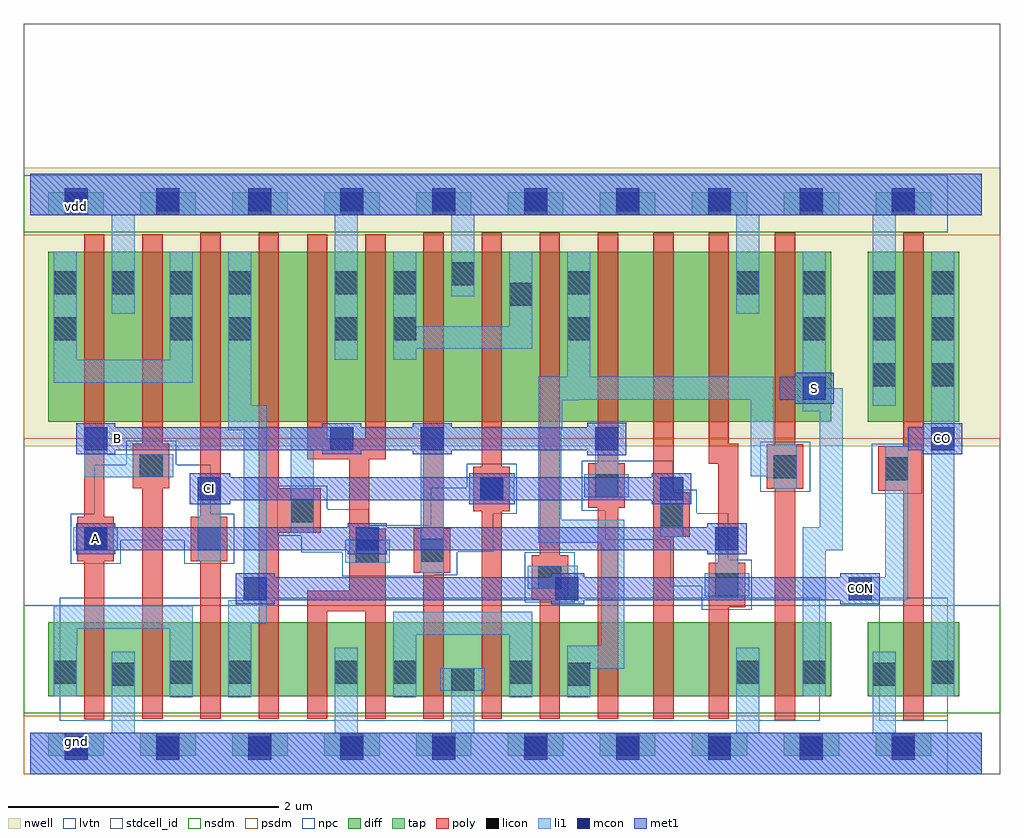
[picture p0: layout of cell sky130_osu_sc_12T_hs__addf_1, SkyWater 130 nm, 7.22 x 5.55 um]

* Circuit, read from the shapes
.subckt sky130_osu_sc_12T_hs__addf_1 A B CI CO CON S gnd vdd
XM1 gnd A n1 gnd sky130_fd_pr__nfet_01v8_lvt w=0.55 l=0.15
XM2 n1 B gnd gnd sky130_fd_pr__nfet_01v8_lvt w=0.55 l=0.15
XM3 CON CI n1 gnd sky130_fd_pr__nfet_01v8_lvt w=0.55 l=0.15
XM4 n2 B CON gnd sky130_fd_pr__nfet_01v8_lvt w=0.55 l=0.15
XM5 gnd A n2 gnd sky130_fd_pr__nfet_01v8_lvt w=0.55 l=0.15
XM6 n3 A gnd gnd sky130_fd_pr__nfet_01v8_lvt w=0.55 l=0.15
XM7 gnd B n3 gnd sky130_fd_pr__nfet_01v8_lvt w=0.55 l=0.15
XM8 n3 CI gnd gnd sky130_fd_pr__nfet_01v8_lvt w=0.55 l=0.15
XM9 n4 CON n3 gnd sky130_fd_pr__nfet_01v8_lvt w=0.55 l=0.15
XM10 n5 B n4 gnd sky130_fd_pr__nfet_01v8_lvt w=0.55 l=0.15
XM11 n6 CI n5 gnd sky130_fd_pr__nfet_01v8_lvt w=0.55 l=0.15
XM12 gnd A n6 gnd sky130_fd_pr__nfet_01v8_lvt w=0.55 l=0.15
XM13 S n4 gnd gnd sky130_fd_pr__nfet_01v8_lvt w=0.55 l=0.15
XM14 CO CON gnd gnd sky130_fd_pr__nfet_01v8_lvt w=0.55 l=0.15
XM15 vdd A n7 vdd sky130_fd_pr__pfet_01v8 w=1.26 l=0.15
XM16 n7 B vdd vdd sky130_fd_pr__pfet_01v8 w=1.26 l=0.15
XM17 CON CI n7 vdd sky130_fd_pr__pfet_01v8 w=1.26 l=0.15
XM18 n8 B CON vdd sky130_fd_pr__pfet_01v8 w=1.26 l=0.15
XM19 vdd A n8 vdd sky130_fd_pr__pfet_01v8 w=1.26 l=0.15
XM20 n9 A vdd vdd sky130_fd_pr__pfet_01v8 w=1.26 l=0.15
XM21 vdd B n9 vdd sky130_fd_pr__pfet_01v8 w=1.26 l=0.15
XM22 n9 CI vdd vdd sky130_fd_pr__pfet_01v8 w=1.26 l=0.15
XM23 n4 CON n9 vdd sky130_fd_pr__pfet_01v8 w=1.26 l=0.15
XM24 n10 B n4 vdd sky130_fd_pr__pfet_01v8 w=1.26 l=0.15
XM25 n11 CI n10 vdd sky130_fd_pr__pfet_01v8 w=1.26 l=0.15
XM26 vdd A n11 vdd sky130_fd_pr__pfet_01v8 w=1.26 l=0.15
XM27 S n4 vdd vdd sky130_fd_pr__pfet_01v8 w=1.26 l=0.15
XM28 CO CON vdd vdd sky130_fd_pr__pfet_01v8 w=1.26 l=0.15
.ends

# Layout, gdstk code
import gdstk
lib = gdstk.Library(unit=1e-6, precision=1e-09)
def R(c, l, rs):  # rectangles x0, y0, x1, y1
    for r in rs: c.add(gdstk.rectangle(r[:2], r[2:], *l))
def A(c, l, x, y, w, h, nx, ny, dx, dy):  # array of equal rectangles
    R(c, l, [(x+i*dx, y+j*dy, x+i*dx+w, y+j*dy+h) for i in range(nx) for j in range(ny)])
nwell = (64, 20)
diff = (65, 20)
tap = (65, 44)
poly = (66, 20)
licon = (66, 44)
li1 = (67, 20)
mcon = (67, 44)
met1 = (68, 20)
stdcell_id = (81, 4)
nsdm = (93, 44)
psdm = (94, 20)
npc = (95, 20)
lvtn = (125, 44)

sky130_osu_sc_12t_hs__ad = lib.new_cell('sky130_osu_sc_12T_hs__addf_1')
R(sky130_osu_sc_12t_hs__ad, nwell, [(-0.045,2.425,7.175,4.485)])
R(sky130_osu_sc_12t_hs__ad, diff, [(0.135,0.575,5.925,1.125), (6.195,0.575,6.875,1.125), (0.135,2.605,5.925,3.865), (6.195,2.605,6.875,3.865)])
A(sky130_osu_sc_12t_hs__ad, tap, 0.135, 0.135, 0.41, 0.17, 10, 2, 0.68, 4)
R(sky130_osu_sc_12t_hs__ad, poly, [(5.51,0.4,5.66,2.11), (6.46,0.4,6.61,2.095), (0.4,0.405,0.55,1.575), (0.83,0.41,0.98,2.115), (1.26,0.41,1.41,1.575), (1.69,0.41,1.84,1.785), (2.05,0.41,2.2,1.205), (2.48,0.41,2.63,1.205), (2.91,0.41,3.06,1.49), (3.34,0.41,3.49,1.945), (3.77,0.41,3.92,1.29), (4.2,0.41,4.35,1.97), (4.61,0.41,4.76,1.755), (5.02,0.41,5.17,1.235), (2.05,1.205,2.63,1.355), (5.02,1.235,5.29,1.565), (3.71,1.29,3.98,1.62), (2.36,1.355,2.63,1.815), (2.84,1.49,3.11,1.82), (5.09,1.565,5.24,2.295), (0.35,1.575,0.62,1.905), (1.19,1.575,1.46,1.905), (3.77,1.62,3.92,4.005), (4.61,1.755,4.88,2.085), (1.69,1.785,2.15,2.115), (2.36,1.815,2.51,2.33), (2.91,1.82,3.06,4.005), (0.4,1.905,0.55,3.995), (1.26,1.905,1.41,4.005), (3.28,1.945,3.55,2.275), (4.13,1.97,4.4,2.3), (4.61,2.085,4.76,4.005), (6.275,2.095,6.61,2.425), (5.45,2.11,5.72,2.44), (0.76,2.115,1.03,2.445), (1.69,2.115,1.84,4.005), (3.34,2.275,3.49,4.005), (5.02,2.295,5.24,2.445), (4.2,2.3,4.35,4.005), (2.05,2.33,2.63,2.48), (6.46,2.425,6.61,4.005), (5.51,2.44,5.66,4.005), (0.83,2.445,0.98,3.995), (5.02,2.445,5.17,4.005), (2.05,2.48,2.2,3.995), (2.48,2.48,2.63,3.995)])
A(sky130_osu_sc_12t_hs__ad, licon, 0.255, 0.135, 0.17, 0.17, 10, 2, 0.68, 4)
A(sky130_osu_sc_12t_hs__ad, licon, 6.235, 2.87, 0.17, 0.17, 1, 3, 0, 0.34)
A(sky130_osu_sc_12t_hs__ad, licon, 6.665, 2.87, 0.17, 0.17, 1, 3, 0, 0.34)
A(sky130_osu_sc_12t_hs__ad, licon, 0.175, 3.55, 0.17, 0.17, 4, 1, 0.43, 0)
R(sky130_osu_sc_12t_hs__ad, licon, [(3.115,0.615,3.285,0.785), (0.605,0.655,0.775,0.825), (3.975,0.655,4.145,0.825), (6.235,0.655,6.405,0.825), (0.175,0.67,0.345,0.84), (1.035,0.67,1.205,0.84), (1.465,0.67,1.635,0.84), (2.255,0.67,2.425,0.84), (2.685,0.67,2.855,0.84), (3.545,0.67,3.715,0.84), (5.225,0.67,5.395,0.84), (5.715,0.67,5.885,0.84), (6.665,0.67,6.835,0.84), (5.07,1.315,5.24,1.485), (3.76,1.37,3.93,1.54), (2.41,1.565,2.58,1.735), (2.89,1.57,3.06,1.74), (0.4,1.655,0.57,1.825), (1.24,1.655,1.41,1.825), (4.66,1.835,4.83,2.005), (1.93,1.865,2.1,2.035), (3.33,2.025,3.5,2.195), (4.18,2.05,4.35,2.22), (6.325,2.175,6.495,2.345), (5.5,2.19,5.67,2.36), (0.81,2.195,0.98,2.365), (0.175,3.21,0.345,3.38), (1.035,3.21,1.205,3.38), (1.465,3.21,1.635,3.38), (2.255,3.21,2.425,3.38), (2.685,3.21,2.855,3.38), (3.975,3.21,4.145,3.38), (5.715,3.21,5.885,3.38), (3.545,3.465,3.715,3.635), (2.255,3.55,2.425,3.72), (2.685,3.55,2.855,3.72), (3.975,3.55,4.145,3.72), (5.225,3.55,5.395,3.72), (5.715,3.55,5.885,3.72), (3.115,3.615,3.285,3.785)])
R(sky130_osu_sc_12t_hs__ad, li1, [(0,0,7.04,0.305), (0.605,0.305,0.775,0.905), (2.255,0.305,2.425,0.935), (3.115,0.305,3.285,0.615), (5.225,0.305,5.395,0.935), (6.235,0.305,6.405,0.905), (1.035,0.57,1.205,1.075), (1.465,0.57,1.635,1.115), (2.685,0.57,2.855,1.03), (3.545,0.57,3.715,1.03), (3.975,0.57,4.145,0.78), (0.175,0.575,0.345,0.945), (5.715,0.575,5.885,1.655), (6.665,0.575,6.835,3.865), (3.035,0.615,3.365,0.785), (3.975,0.78,4.395,0.95), (0.175,0.945,0.35,1.075), (4.225,0.95,4.395,1.71), (2.685,1.03,3.715,1.2), (0.175,1.075,1.205,1.245), (1.465,1.115,1.75,1.285), (1.58,1.285,1.75,2.545), (3.885,1.285,4.055,1.37), (6.055,1.285,6.495,1.455), (5.07,1.31,5.24,1.315), (4.99,1.315,5.32,1.485), (3.68,1.37,4.055,1.455), (3.68,1.455,4.05,1.54), (6.325,1.455,6.495,2.425), (5.07,1.485,5.24,1.825), (2.89,1.49,3.06,2.565), (2.33,1.565,2.66,1.735), (1.24,1.575,1.41,2.195), (0.32,1.655,0.65,1.825), (5.715,1.655,6.01,1.825), (3.76,1.71,4.395,1.88), (2.41,1.735,2.58,1.825), (4.66,1.755,4.83,2.195), (1.93,1.785,2.1,2.395), (5.84,1.825,6.01,2.685), (3.76,1.88,3.93,2.55), (3.25,2.025,3.58,2.195), (4.1,2.05,4.43,2.22), (5.5,2.11,5.67,2.19), (5.445,2.19,5.67,2.205), (0.4,2.195,1.06,2.365), (5.33,2.205,5.67,2.44), (4.18,2.22,4.35,2.565), (0.4,2.365,0.57,2.565), (1.93,2.395,2.39,2.565), (5.33,2.44,5.5,2.77), (1.465,2.545,1.75,2.73), (3.76,2.55,3.935,2.765), (5.715,2.685,6.01,2.855), (6.235,2.725,6.405,4.135), (1.465,2.73,1.635,3.865), (3.76,2.765,4.06,2.77), (3.76,2.77,5.5,2.94), (5.715,2.855,5.885,3.865), (0.175,2.895,1.205,3.065), (3.975,2.94,4.145,3.865), (0.175,3.065,0.345,3.865), (1.035,3.065,1.205,3.865), (2.255,3.065,2.425,4.135), (2.685,3.065,2.855,3.145), (2.685,3.145,3.715,3.315), (2.685,3.315,2.855,3.865), (3.545,3.315,3.715,3.865), (0.605,3.405,0.775,4.135), (5.225,3.405,5.395,4.135), (3.115,3.535,3.285,4.135), (0,4.135,7.04,4.44)])
A(sky130_osu_sc_12t_hs__ad, mcon, 0.255, 0.105, 0.17, 0.17, 10, 2, 0.68, 4.06)
R(sky130_osu_sc_12t_hs__ad, mcon, [(1.58,1.285,1.75,1.455), (3.885,1.285,4.055,1.455), (6.055,1.285,6.225,1.455), (0.4,1.655,0.57,1.825), (2.41,1.655,2.58,1.825), (5.07,1.655,5.24,1.825), (1.24,2.025,1.41,2.195), (3.33,2.025,3.5,2.195), (4.66,2.025,4.83,2.195), (0.4,2.395,0.57,2.565), (2.22,2.395,2.39,2.565), (2.89,2.395,3.06,2.565), (4.18,2.395,4.35,2.565), (6.665,2.395,6.835,2.565), (5.715,2.77,5.885,2.94)])
R(sky130_osu_sc_12t_hs__ad, met1, [(0,0,7.04,0.305), (1.52,1.255,1.81,1.285), (3.855,1.255,4.1,1.285), (5.995,1.255,6.285,1.285), (1.52,1.285,6.285,1.455), (1.52,1.455,1.81,1.485), (3.855,1.455,4.1,1.485), (5.995,1.455,6.285,1.485), (0.34,1.625,0.63,1.655), (2.35,1.625,2.64,1.655), (5.01,1.625,5.3,1.655), (0.34,1.655,5.3,1.825), (0.34,1.825,0.63,1.855), (2.35,1.825,2.64,1.855), (5.01,1.825,5.3,1.855), (1.18,1.995,1.48,2.025), (3.25,1.995,3.585,2.025), (4.6,1.995,4.89,2.025), (1.18,2.025,4.89,2.195), (1.18,2.195,1.48,2.225), (3.25,2.195,3.585,2.225), (4.6,2.195,4.89,2.225), (4.12,2.36,4.41,2.395), (0.34,2.365,0.63,2.395), (2.16,2.365,2.45,2.395), (2.83,2.365,3.12,2.395), (6.605,2.365,6.895,2.395), (0.34,2.395,4.41,2.565), (6.495,2.395,6.895,2.565), (0.34,2.565,0.63,2.595), (2.16,2.565,2.45,2.595), (2.83,2.565,3.12,2.595), (4.12,2.565,4.41,2.6), (6.605,2.565,6.895,2.595), (5.655,2.74,5.945,2.77), (5.545,2.77,5.945,2.94), (5.655,2.94,5.945,2.97), (0,4.135,7.04,4.44)])
R(sky130_osu_sc_12t_hs__ad, stdcell_id, [(-0.045,0,7.175,5.55)])
R(sky130_osu_sc_12t_hs__ad, nsdm, [(-0.045,0.45,7.175,1.25), (-0.045,4.01,6.79,4.43)])
R(sky130_osu_sc_12t_hs__ad, psdm, [(-0.045,0,6.79,0.43), (-0.045,2.48,7.175,3.99)])
R(sky130_osu_sc_12t_hs__ad, npc, [(4.97,1.215,5.34,1.39), (3.66,1.27,4.03,1.64), (4.735,1.39,5.34,1.585), (2.31,1.465,2.985,1.47), (2.31,1.47,3.16,1.64), (0.3,1.555,0.67,1.73), (1.14,1.555,1.51,1.73), (4.735,1.585,5.165,1.735), (2.005,1.64,3.16,1.645), (2.005,1.645,3.425,1.765), (0.3,1.73,1.51,1.925), (4.255,1.735,5.165,1.93), (1.83,1.765,3.425,1.84), (1.83,1.84,2.505,1.96), (2.965,1.84,3.425,1.925), (0.475,1.925,1.335,2.29), (2.965,1.925,3.6,2.12), (4.255,1.93,4.93,1.95), (4.08,1.95,4.93,2.105), (1.83,1.96,2.2,2.135), (6.225,2.075,6.595,2.445), (5.4,2.09,5.77,2.46), (4.08,2.105,4.755,2.32), (3.23,2.12,3.6,2.295), (0.71,2.29,1.08,2.465)])
R(sky130_osu_sc_12t_hs__ad, lvtn, [(0.22,0.395,5.84,1.305), (6.28,0.395,6.79,1.305)])
sky130_osu_sc_12t_hs__ad.add(gdstk.Label('gnd', (0.34,0.24), layer=68, texttype=16))
sky130_osu_sc_12t_hs__ad.add(gdstk.Label('vdd', (0.34,4.2), layer=68, texttype=16))
sky130_osu_sc_12t_hs__ad.add(gdstk.Label('S', (5.8,2.855), layer=68, texttype=5))
sky130_osu_sc_12t_hs__ad.add(gdstk.Label('CO', (6.75,2.48), layer=68, texttype=5))
sky130_osu_sc_12t_hs__ad.add(gdstk.Label('B', (0.645,2.48), layer=68, texttype=5))
sky130_osu_sc_12t_hs__ad.add(gdstk.Label('CI', (1.325,2.11), layer=68, texttype=5))
sky130_osu_sc_12t_hs__ad.add(gdstk.Label('A', (0.485,1.74), layer=68, texttype=5))
sky130_osu_sc_12t_hs__ad.add(gdstk.Label('CON', (6.14,1.37), layer=68, texttype=5))

lib.write_gds('sky130_osu_sc_12T_hs__addf_1.gds')
